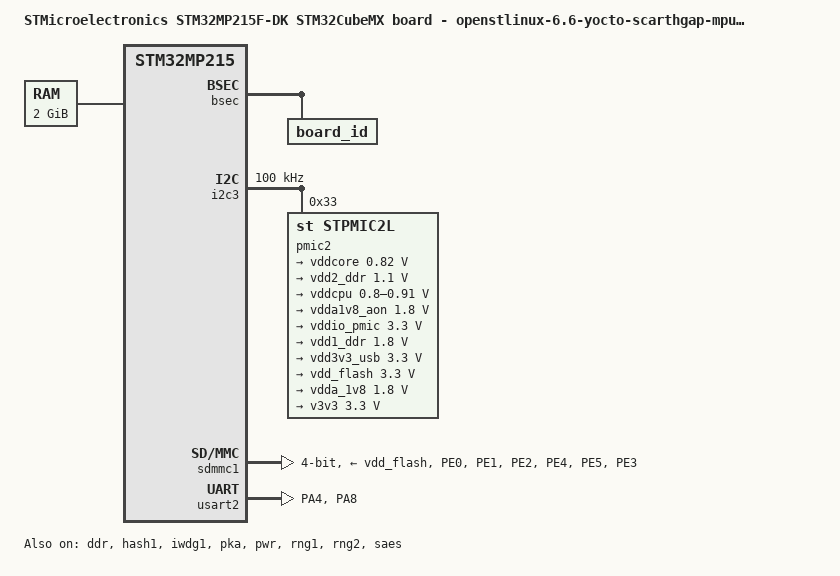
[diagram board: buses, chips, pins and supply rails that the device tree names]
// SPDX-License-Identifier: (GPL-2.0-only OR BSD-3-Clause)
/*
 * Copyright (C) 2025, STMicroelectronics - All Rights Reserved
 * Author: STM32CubeMX code generation for STMicroelectronics.
 */

/* For more information on Device Tree configuration, please refer to
 * https://wiki.st.com/stm32mpu/wiki/Category:Device_tree_configuration
 */

/dts-v1/;

#include <dt-bindings/pinctrl/stm32-pinfunc.h>
#include <dt-bindings/clock/stm32mp21-clksrc.h>
#include "stm32mp21-mx.dtsi"

#include "stm32mp215.dtsi"
#include "stm32mp21xf.dtsi"
#include "stm32mp215f-dk-mx-rcc.dtsi"
#include "stm32mp21xxan-pinctrl.dtsi"
#include "stm32mp25-ddr.dtsi"

/* USER CODE BEGIN includes */
/* USER CODE END includes */

/ {
	model = "STMicroelectronics STM32MP215F-DK STM32CubeMX board - openstlinux-6.6-yocto-scarthgap-mpu-v25.06.11";
	compatible = "st,stm32mp215f-dk-mx", "st,stm32mp215f-dk", "st,stm32mp215";

	memory@80000000 {
		device_type = "memory";
		reg = <0x0 0x80000000 0x0 0x80000000>;

		/* USER CODE BEGIN memory */
		/* USER CODE END memory */
	};

	/* USER CODE BEGIN root */

	aliases{
		serial0 = &usart2;
	};

	chosen{
		stdout-path = "serial0:115200n8";
	};

	shadow-prov{
		compatible = "st,provisioning";

		hconf1_prov{
			nvmem-cells = <&hconf1_otp>;
			st,shadow-value = <0x00008000>;
		};
	};
	/* USER CODE END root */

}; /*root*/

&pinctrl {
	sdmmc1_pins_mx: sdmmc1_mx-0 {
		pins1 {
			pinmux = <STM32_PINMUX('E', 0, AF10)>, /* SDMMC1_D2 */
					 <STM32_PINMUX('E', 1, AF10)>, /* SDMMC1_D3 */
					 <STM32_PINMUX('E', 2, AF10)>, /* SDMMC1_CMD */
					 <STM32_PINMUX('E', 4, AF10)>, /* SDMMC1_D0 */
					 <STM32_PINMUX('E', 5, AF10)>; /* SDMMC1_D1 */
			bias-disable;
			drive-push-pull;
			slew-rate = <2>;
		};
		pins2 {
			pinmux = <STM32_PINMUX('E', 3, AF10)>; /* SDMMC1_CK */
			bias-disable;
			drive-push-pull;
			slew-rate = <3>;
		};
	};

	usart2_pins_mx: usart2_mx-0 {
		pins1 {
			pinmux = <STM32_PINMUX('A', 4, AF6)>; /* USART2_TX */
			bias-disable;
			drive-push-pull;
			slew-rate = <0>;
		};
		pins2 {
			pinmux = <STM32_PINMUX('A', 8, AF8)>; /* USART2_RX */
			bias-disable;
			drive-push-pull;
		};
	};

	/* USER CODE BEGIN pinctrl */
	/* USER CODE END pinctrl */
};

&pinctrl_z {
	i2c3_pins_z_mx: i2c3_mx-0 {
		pins {
			pinmux = <STM32_PINMUX('Z', 0, AF8)>, /* I2C3_SDA */
					 <STM32_PINMUX('Z', 1, AF8)>; /* I2C3_SCL */
			bias-disable;
			drive-open-drain;
			slew-rate = <0>;
		};
	};

	/* USER CODE BEGIN pinctrl_z */
	/* USER CODE END pinctrl_z */
};

&bsec {
	status = "okay";

	/* USER CODE BEGIN bsec */

	board_id:board_id@3d8{
		reg = <0x3d8 0x4>;
	};
	/* USER CODE END bsec */
};

&ddr {
	status = "okay";

	/* USER CODE BEGIN ddr */
	vdd1-supply = <&vdd1_ddr>;
	vdd2-supply = <&vdd2_ddr>;
	vddq-supply = <&vdd2_ddr>;
	/* USER CODE END ddr */
};

&hash1 {
	status = "okay";

	/* USER CODE BEGIN hash1 */
	/* USER CODE END hash1 */
};

&i2c3 {
	pinctrl-names = "default";
	pinctrl-0 = <&i2c3_pins_z_mx>;
	status = "okay";

	/* USER CODE BEGIN i2c3 */
	i2c-scl-rising-time-ns = <185>;
	i2c-scl-falling-time-ns = <20>;
	clock-frequency = <100000>;
	#address-cells = <1>;
	#size-cells = <0>;

	pmic2:pmic@33{
		compatible = "st,stpmic2l";
		reg = <0x33>;
		status = "okay";

		regulators{
			compatible = "st,stpmic2-regulators";

			vddcore:buck1{
				regulator-name = "vddcore";
				regulator-min-microvolt = <820000>;
				regulator-max-microvolt = <820000>;
				regulator-always-on;
			};

			vdd2_ddr:buck2{
				regulator-name = "vdd2_ddr";
				regulator-min-microvolt = <1100000>;
				regulator-max-microvolt = <1100000>;
			};

			vddcpu:buck3{
				regulator-name = "vddcpu";
				regulator-min-microvolt = <800000>;
				regulator-max-microvolt = <910000>;
				regulator-always-on;
			};

			vdda1v8_aon:ldo1{
				regulator-name = "vdda1v8_aon";
				regulator-min-microvolt = <1800000>;
				regulator-max-microvolt = <1800000>;
				regulator-always-on;
				st,mask-reset;
			};

			vddio_pmic:ldo2{
				regulator-name = "vddio_pmic";
				regulator-min-microvolt = <3300000>;
				regulator-max-microvolt = <3300000>;
				regulator-always-on;
				st,mask-reset;
			};

			vdd1_ddr:ldo3{
				regulator-name = "vdd1_ddr";
				regulator-min-microvolt = <1800000>;
				regulator-max-microvolt = <1800000>;
			};

			vdd3v3_usb:ldo4{
				regulator-name = "vdd3v3_usb";
				regulator-min-microvolt = <3300000>;
				regulator-max-microvolt = <3300000>;
			};

			vdd_flash:ldo5{
				regulator-name = "vdd_flash";
				regulator-min-microvolt = <3300000>;
				regulator-max-microvolt = <3300000>;
			};

			vdda_1v8:ldo6{
				regulator-name = "vdda_1v8";
				regulator-min-microvolt = <1800000>;
				regulator-max-microvolt = <1800000>;
				regulator-always-on;
			};

			v3v3:gpo1{
				regulator-name = "v3v3";
				regulator-min-microvolt = <3300000>;
				regulator-max-microvolt = <3300000>;
				regulator-always-on;
			};
		};
	};
	/* USER CODE END i2c3 */
};

&iwdg1 {
	status = "okay";

	/* USER CODE BEGIN iwdg1 */
	timeout-sec = <32>;
	/* USER CODE END iwdg1 */
};

&pka {
	status = "okay";

	/* USER CODE BEGIN pka */
	/* USER CODE END pka */
};

&pwr {
	status = "okay";

	/* USER CODE BEGIN pwr */

	vddio1{
		vddio1-supply = <&vddio_pmic>;
	};

	vddio2{
		vddio2-supply = <&vdda_1v8>;
	};

	vddio3{
		vddio3-supply = <&vddio_pmic>;
	};

	vddio{
		vdd-supply = <&vddio_pmic>;
	};
	/* USER CODE END pwr */
};

&rcc {
	status = "okay";

	/* USER CODE BEGIN rcc */
	/* USER CODE END rcc */
};

&rng1 {
	status = "okay";

	/* USER CODE BEGIN rng1 */
	/* USER CODE END rng1 */
};

&rng2 {
	status = "okay";

	/* USER CODE BEGIN rng2 */
	/* USER CODE END rng2 */
};

&saes {
	status = "okay";

	/* USER CODE BEGIN saes */
	/* USER CODE END saes */
};

&sdmmc1 {
	pinctrl-names = "default";
	pinctrl-0 = <&sdmmc1_pins_mx>;
	status = "okay";

	/* USER CODE BEGIN sdmmc1 */
	st,neg-edge;
	bus-width = <4>;
	vmmc-supply = <&vdd_flash>;
	vqmmc-supply = <&vddio1>;
	/* USER CODE END sdmmc1 */
};

&usart2 {
	pinctrl-names = "default";
	pinctrl-0 = <&usart2_pins_mx>;
	status = "okay";

	/* USER CODE BEGIN usart2 */
	/* USER CODE END usart2 */
};

/* USER CODE BEGIN addons */
/* USER CODE END addons */

